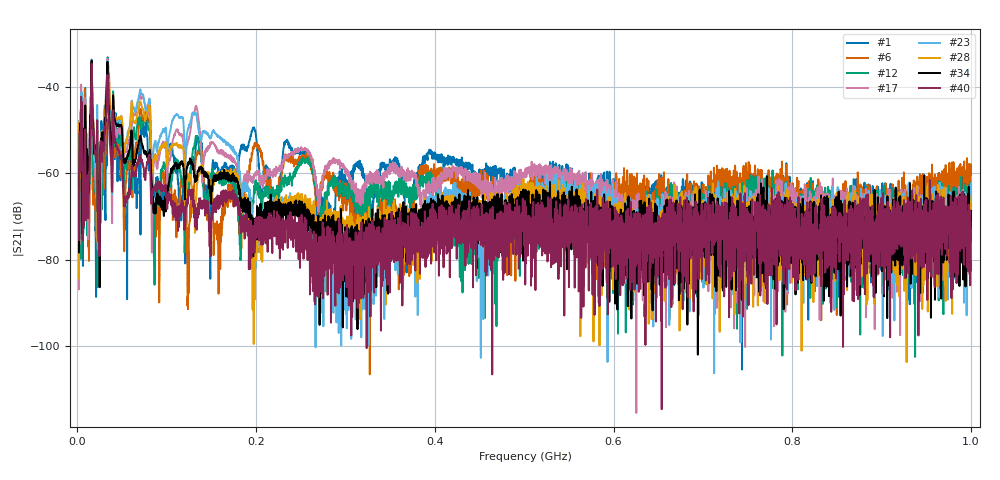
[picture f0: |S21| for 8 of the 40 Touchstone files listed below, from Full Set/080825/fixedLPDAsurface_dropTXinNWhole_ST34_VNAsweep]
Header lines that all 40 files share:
!Keysight Technologies N9923A: A.12.45
!Timezone: (UTC+08:00) Kuala Lumpur, Singapore
!Model: N9923A
!Serial: MY61181427
!GPS Latitude:
!GPS Longitude:
!GPS TimeStamp: 0001-01-01 00:00:00Z
!GPS Seconds Since Last Read: 0
!Correction: S11(ON U)S21(ON U)S12(ON U)S22(ON U)
!S2P File: Measurements:S11,S21,S12,S22:
# Hz S DB R 50
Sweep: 2 MHz to 1 GHz
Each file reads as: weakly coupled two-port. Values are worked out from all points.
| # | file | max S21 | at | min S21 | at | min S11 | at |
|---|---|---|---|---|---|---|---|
| 1 | aug8_1m.s2p | -38.64 dB | 16.22 MHz | -105.5 dB | 743.8 MHz | -45.7 dB | 345.3 MHz |
| 2 | aug8_2m.s2p | -40.23 dB | 16.22 MHz | -102.6 dB | 951.6 MHz | -47.8 dB | 345.3 MHz |
| 3 | aug8_3m.s2p | -35.06 dB | 33.94 MHz | -104.5 dB | 466.8 MHz | -49.1 dB | 345.3 MHz |
| 4 | aug8_4m.s2p | -35.96 dB | 33.94 MHz | -100.8 dB | 340.6 MHz | -49.9 dB | 345.3 MHz |
| 5 | aug8_5m.s2p | -36.13 dB | 33.94 MHz | -108.0 dB | 959.1 MHz | -50.0 dB | 907.4 MHz |
| 6 | aug8_6m.s2p | -34.22 dB | 34.19 MHz | -106.6 dB | 327.3 MHz | -54.5 dB | 907.4 MHz |
| 7 | aug8_7m.s2p | -28.00 dB | 15.97 MHz | -102.5 dB | 361.5 MHz | -63.5 dB | 907.4 MHz |
| 8 | aug8_8m.s2p | -29.64 dB | 15.97 MHz | -95.5 dB | 841.3 MHz | -57.8 dB | 907.4 MHz |
| 9 | aug8_9m.s2p | -29.74 dB | 15.97 MHz | -106.8 dB | 430.6 MHz | -50.2 dB | 907.4 MHz |
| 10 | aug8_10m.s2p | -30.34 dB | 33.94 MHz | -110.5 dB | 379 MHz | -48.7 dB | 907.4 MHz |
| 11 | aug8_11m.s2p | -29.62 dB | 33.94 MHz | -96.3 dB | 771.2 MHz | -47.3 dB | 392.7 MHz |
| 12 | aug8_12m.s2p | -33.15 dB | 34.19 MHz | -102.6 dB | 937.4 MHz | -47.6 dB | 392.7 MHz |
| 13 | aug8_13m.s2p | -33.33 dB | 33.94 MHz | -102.0 dB | 606.5 MHz | -49.2 dB | 909.2 MHz |
| 14 | aug8_14m.s2p | -32.81 dB | 33.94 MHz | -100.2 dB | 609 MHz | -53.7 dB | 909.2 MHz |
| 15 | aug8_15m.s2p | -31.61 dB | 33.94 MHz | -99.2 dB | 737.5 MHz | -57.2 dB | 909.2 MHz |
| 16 | aug8_16m.s2p | -32.84 dB | 15.72 MHz | -101.6 dB | 700.6 MHz | -59.6 dB | 891.7 MHz |
| 17 | aug8_17m.s2p | -33.51 dB | 33.94 MHz | -115.5 dB | 625.5 MHz | -54.7 dB | 891.7 MHz |
| 18 | aug8_18m.s2p | -32.05 dB | 33.94 MHz | -96.8 dB | 759 MHz | -51.2 dB | 541.2 MHz |
| 19 | aug8_19m.s2p | -31.59 dB | 33.94 MHz | -103.7 dB | 611.5 MHz | -52.5 dB | 541.2 MHz |
| 20 | aug8_20m.s2p | -32.37 dB | 33.94 MHz | -105.5 dB | 833.1 MHz | -53.3 dB | 541.2 MHz |
| 21 | aug8_21m.s2p | -32.88 dB | 33.94 MHz | -102.2 dB | 692.6 MHz | -51.8 dB | 541.2 MHz |
| 22 | aug8_22m.s2p | -31.72 dB | 16.22 MHz | -102.2 dB | 455.3 MHz | -51.9 dB | 389.5 MHz |
| 23 | aug8_23m.s2p | -33.64 dB | 16.22 MHz | -106.3 dB | 712.6 MHz | -54.3 dB | 389.5 MHz |
| 24 | aug8_24m.s2p | -33.91 dB | 33.94 MHz | -108.4 dB | 684.9 MHz | -59.2 dB | 389.5 MHz |
| 25 | aug8_25m.s2p | -34.04 dB | 33.94 MHz | -101.6 dB | 875.7 MHz | -67.5 dB | 389.5 MHz |
| 26 | aug8_26m.s2p | -33.78 dB | 33.94 MHz | -103.9 dB | 930.6 MHz | -66.4 dB | 389.5 MHz |
| 27 | aug8_27m.s2p | -33.82 dB | 15.97 MHz | -100.4 dB | 915.9 MHz | -54.3 dB | 389.5 MHz |
| 28 | aug8_28m.s2p | -34.60 dB | 33.94 MHz | -103.8 dB | 927.9 MHz | -52.5 dB | 389.5 MHz |
| 29 | aug8_29m.s2p | -30.53 dB | 15.97 MHz | -99.9 dB | 872.3 MHz | -53.3 dB | 885 MHz |
| 30 | aug8_30m.s2p | -29.39 dB | 15.97 MHz | -103.9 dB | 671.4 MHz | -55.1 dB | 885 MHz |
| 31 | aug8_31m.s2p | -29.51 dB | 16.22 MHz | -100.0 dB | 815.6 MHz | -49.1 dB | 389.5 MHz |
| 32 | aug8_32m.s2p | -29.27 dB | 16.22 MHz | -110.3 dB | 656.7 MHz | -48.3 dB | 522.2 MHz |
| 33 | aug8_33m.s2p | -30.92 dB | 16.22 MHz | -100.1 dB | 927.6 MHz | -75.4 dB | 440.6 MHz |
| 34 | aug8_34m.s2p | -33.91 dB | 16.22 MHz | -102.0 dB | 694.4 MHz | -46.3 dB | 522.2 MHz |
| 35 | aug8_35m.s2p | -35.14 dB | 16.22 MHz | -101.0 dB | 676.4 MHz | -46.1 dB | 522.2 MHz |
| 36 | aug8_36m.s2p | -35.48 dB | 33.94 MHz | -108.6 dB | 308.6 MHz | -45.1 dB | 522.2 MHz |
| 37 | aug8_37m.s2p | -35.62 dB | 33.94 MHz | -99.8 dB | 624.3 MHz | -44.6 dB | 522.2 MHz |
| 38 | aug8_38m.s2p | -36.63 dB | 33.94 MHz | -109.1 dB | 523 MHz | -44.2 dB | 866.3 MHz |
| 39 | aug8_39m.s2p | -36.84 dB | 16.22 MHz | -100.5 dB | 665.7 MHz | -44.5 dB | 866.3 MHz |
| 40 | aug8_40m.s2p | -34.63 dB | 16.22 MHz | -114.7 dB | 653.9 MHz | -47.9 dB | 874.8 MHz |
